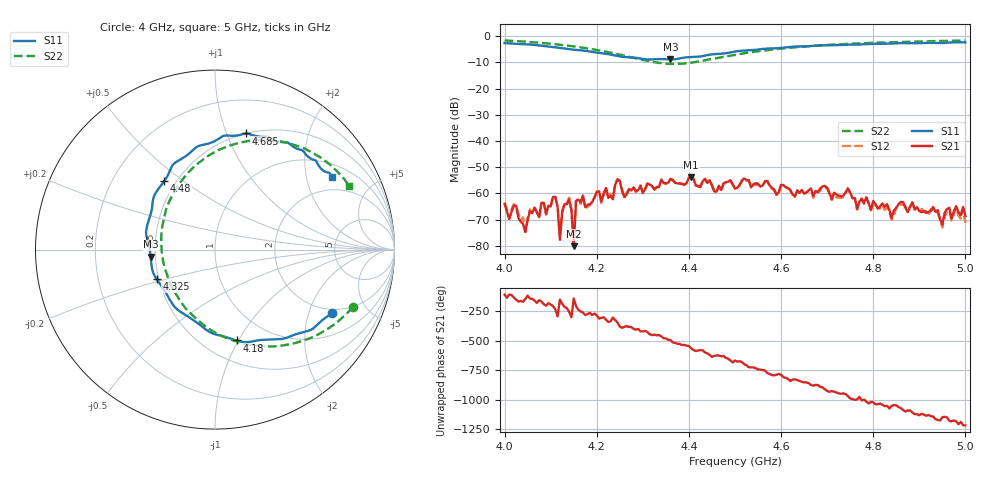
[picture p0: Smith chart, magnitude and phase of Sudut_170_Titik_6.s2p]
# Hz S RI R 50
! CMT, C1220, 16058040, 17.2.0/1
! Date: 15/08/2018 12:11:21
! Data: Format (Calibration Info)
! Freq  S11: Re/Im (F2)  S21: Re/Im (F2)  S12: Re/Im (F2)  S22: Re/Im (F2)
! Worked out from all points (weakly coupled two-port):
!   201 points, 4 GHz to 5 GHz, reference 50 ohm
!   highest |S21| = -53.87 dB at 4.405 GHz (marker M1); lowest = -80.1 dB at 4.15 GHz (marker M2)
!   lowest |S11| = -8.9 dB at 4.36 GHz (marker M3), VSWR 2.13, Z = 23.6 - j2.15 ohm
!   |S11| at or under -10 dB: nowhere
!   |S22| runs from -10.6 to -1.6 dB; largest |S21 - S12| = 0.00013
!   S11 on the Smith chart (normalised r, x): 4 GHz: 1.81, -2.86; 4.18 GHz: 0.71, -0.98; 4.325 GHz: 0.49, -0.18; 4.48 GHz: 0.43, +0.43; 4.685 GHz: 0.50, +1.18; 5 GHz: 1.46, +2.83
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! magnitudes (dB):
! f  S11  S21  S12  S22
! 4 GHz  -2.6  -64.0  -63.6  -1.6
! 4.045 GHz  -3.0  -74.7  -74.6  -2.1
! 4.055 GHz  -3.1  -66.8  -66.1  -2.2
! 4.11 GHz  -4.2  -61.3  -61.4  -3.0
! 4.12 GHz  -4.4  -77.7  -76.3  -3.2
! 4.125 GHz  -4.5  -67.2  -66.7  -3.3
! 4.14 GHz  -4.9  -62.3  -61.6  -3.6
! 4.15 GHz  -5.1  -80.1  -78.9  -3.9
! 4.155 GHz  -5.2  -62.9  -62.8  -4.0
! 4.17 GHz  -5.4  -60.8  -60.7  -4.4
! 4.18 GHz  -5.7  -64.3  -65.1  -4.6
! 4.245 GHz  -7.5  -54.8  -54.5  -6.8
! 4.325 GHz  -8.8  -58.6  -58.3  -9.9
! 4.335 GHz  -8.7  -57.6  -57.5  -10.2
! 4.36 GHz  -8.9  -54.4  -54.6  -10.6
! 4.405 GHz  -8.0  -53.9  -53.7  -10.1
! 4.48 GHz  -6.5  -55.7  -55.9  -7.7
! 4.5 GHz  -5.8  -58.2  -58.0  -7.1
! 4.67 GHz  -3.6  -61.0  -61.7  -3.7
! 4.685 GHz  -3.5  -58.1  -58.7  -3.5
! 4.835 GHz  -2.8  -66.3  -66.9  -2.3
! 5 GHz  -2.3  -68.6  -71.2  -1.6
